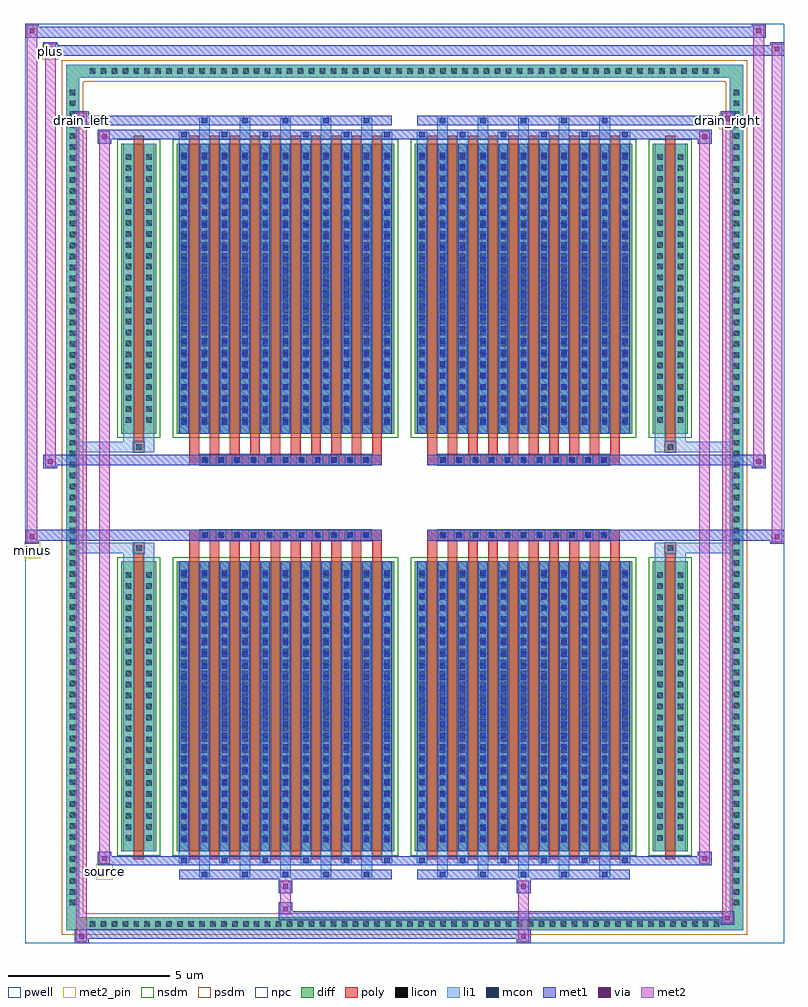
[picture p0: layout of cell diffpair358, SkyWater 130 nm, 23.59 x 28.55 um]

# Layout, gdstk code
import gdstk
lib = gdstk.Library(unit=1e-6, precision=5e-09)
def R(c, l, rs):  # rectangles x0, y0, x1, y1
    for r in rs: c.add(gdstk.rectangle(r[:2], r[2:], *l))
def A(c, l, x, y, w, h, nx, ny, dx, dy):  # array of equal rectangles
    R(c, l, [(x+i*dx, y+j*dy, x+i*dx+w, y+j*dy+h) for i in range(nx) for j in range(ny)])
def P(c, l, *ps):  # polygons
    for p in ps: c.add(gdstk.Polygon(p, *l))
pwell = (64, 44)
diff = (65, 20)
poly = (66, 20)
licon = (66, 44)
li1 = (67, 20)
mcon = (67, 44)
met1 = (68, 20)
via = (68, 44)
met2_pin = (69, 16)
met2 = (69, 20)
nsdm = (93, 44)
psdm = (94, 20)
npc = (95, 20)

diffpair358 = lib.new_cell('diffpair358')
R(diffpair358, pwell, [(-11.78,-13.84,11.78,14.71), (-9.1,-12.03,-0.01,-0.805), (0.01,-12.03,9.1,-0.805), (-9.1,0.805,-0.01,12.03), (0.01,0.805,9.1,12.03)])
A(diffpair358, diff, -9.895, -13.44, 0.41, 0.41, 58, 2, 0.34, 26.47)
A(diffpair358, diff, -10.51, -12.785, 0.41, 0.41, 1, 75, 0, 0.34)
A(diffpair358, diff, 10.1, -12.785, 0.41, 0.41, 1, 75, 0, 0.34)
R(diffpair358, diff, [(-9.895,-13.44,9.895,-13.03), (-10.51,-12.785,-10.1,12.785), (10.1,-12.785,10.51,12.785), (-8.79,-10.985,-7.71,-1.985), (-7.07,-10.985,-0.32,-1.985), (0.32,-10.985,7.07,-1.985), (7.71,-10.985,8.79,-1.985), (-8.79,1.985,-7.71,10.985), (-7.07,1.985,-0.32,10.985), (0.32,1.985,7.07,10.985), (7.71,1.985,8.79,10.985), (-9.895,13.03,9.895,13.44)])
P(diffpair358, diff, [(10.51,13.44),(-10.51,13.44),(-10.51,-13.03),(-10.1,-13.03),(-10.1,13.03),(10.1,13.03),(10.1,-13.03),(-10.1,-13.03),(-10.51,-13.03),(-10.51,-13.44),(10.51,-13.44)])
A(diffpair358, poly, -6.68, -11.235, 0.3, 9.5, 10, 2, 0.63, 12.97)
A(diffpair358, poly, 0.71, -11.235, 0.3, 9.5, 10, 2, 0.63, 12.97)
A(diffpair358, poly, -6.68, -1.735, 0.3, 0.4, 10, 2, 0.63, 3.07)
A(diffpair358, poly, 0.71, -1.735, 0.3, 0.4, 10, 2, 0.63, 3.07)
A(diffpair358, poly, -6.36, -1.335, 0.33, 0.33, 11, 2, 0.5, 2.34)
A(diffpair358, poly, 1.03, -1.335, 0.33, 0.33, 11, 2, 0.5, 2.34)
R(diffpair358, poly, [(-8.4,-11.235,-8.1,-1.735), (8.1,-11.235,8.4,-1.735), (-8.415,-1.735,-8.085,-1.405), (-8.415,-1.735,-8.085,-1.405), (8.085,-1.735,8.415,-1.405), (8.085,-1.735,8.415,-1.405), (-6.68,-1.335,-0.71,-1.005), (0.71,-1.335,6.68,-1.005), (-6.68,1.005,-0.71,1.335), (0.71,1.005,6.68,1.335), (-8.415,1.405,-8.085,1.735), (-8.415,1.405,-8.085,1.735), (8.085,1.405,8.415,1.735), (8.085,1.405,8.415,1.735), (-8.4,1.735,-8.1,11.235), (8.1,1.735,8.4,11.235)])
A(diffpair358, licon, -9.775, -13.32, 0.17, 0.17, 58, 2, 0.34, 26.47)
A(diffpair358, licon, -10.39, -12.665, 0.17, 0.17, 1, 75, 0, 0.34)
A(diffpair358, licon, 10.22, -12.665, 0.17, 0.17, 1, 75, 0, 0.34)
A(diffpair358, licon, -8.65, -10.65, 0.17, 0.17, 1, 25, 0, 0.34)
A(diffpair358, licon, -8.02, -10.65, 0.17, 0.17, 1, 25, 0, 0.34)
A(diffpair358, licon, -6.93, -10.65, 0.17, 0.17, 11, 25, 0.63, 0.34)
A(diffpair358, licon, 0.46, -10.65, 0.17, 0.17, 11, 25, 0.63, 0.34)
A(diffpair358, licon, 7.85, -10.65, 0.17, 0.17, 1, 25, 0, 0.34)
A(diffpair358, licon, 8.48, -10.65, 0.17, 0.17, 1, 25, 0, 0.34)
A(diffpair358, licon, -6.28, -1.255, 0.17, 0.17, 11, 2, 0.5, 2.34)
A(diffpair358, licon, 1.11, -1.255, 0.17, 0.17, 11, 2, 0.5, 2.34)
A(diffpair358, licon, -8.65, 2.32, 0.17, 0.17, 1, 25, 0, 0.34)
A(diffpair358, licon, -8.02, 2.32, 0.17, 0.17, 1, 25, 0, 0.34)
A(diffpair358, licon, -6.93, 2.32, 0.17, 0.17, 11, 25, 0.63, 0.34)
A(diffpair358, licon, 0.46, 2.32, 0.17, 0.17, 11, 25, 0.63, 0.34)
A(diffpair358, licon, 7.85, 2.32, 0.17, 0.17, 1, 25, 0, 0.34)
A(diffpair358, licon, 8.48, 2.32, 0.17, 0.17, 1, 25, 0, 0.34)
R(diffpair358, licon, [(-8.335,-1.655,-8.165,-1.485), (8.165,-1.655,8.335,-1.485), (-8.335,1.485,-8.165,1.655), (8.165,1.485,8.335,1.655)])
A(diffpair358, li1, -9.855, -13.4, 0.33, 0.33, 58, 2, 0.34, 26.47)
A(diffpair358, li1, -10.47, -12.745, 0.33, 0.33, 1, 75, 0, 0.34)
A(diffpair358, li1, 10.14, -12.745, 0.33, 0.33, 1, 75, 0, 0.34)
A(diffpair358, li1, -6.38, -11.79, 0.33, 0.805, 5, 2, 1.26, 22.775)
A(diffpair358, li1, -6.3, -11.79, 0.17, 0.17, 5, 2, 1.26, 23.41)
A(diffpair358, li1, 1.01, -11.79, 0.33, 0.805, 5, 2, 1.26, 22.775)
A(diffpair358, li1, 1.09, -11.79, 0.17, 0.17, 5, 2, 1.26, 23.41)
A(diffpair358, li1, -7.01, -11.36, 0.33, 0.375, 6, 2, 1.26, 22.345)
A(diffpair358, li1, -6.93, -11.36, 0.17, 0.17, 6, 2, 1.26, 22.55)
A(diffpair358, li1, 0.38, -11.36, 0.33, 0.375, 6, 2, 1.26, 22.345)
A(diffpair358, li1, 0.46, -11.36, 0.17, 0.17, 6, 2, 1.26, 22.55)
A(diffpair358, li1, -7.01, -10.985, 0.33, 9, 11, 2, 0.63, 12.97)
A(diffpair358, li1, 0.38, -10.985, 0.33, 9, 11, 2, 0.63, 12.97)
A(diffpair358, li1, -8.73, -10.73, 0.33, 0.33, 1, 25, 0, 0.34)
A(diffpair358, li1, -8.1, -10.73, 0.33, 0.33, 1, 25, 0, 0.34)
A(diffpair358, li1, -7.01, -10.73, 0.33, 0.33, 11, 25, 0.63, 0.34)
A(diffpair358, li1, 0.38, -10.73, 0.33, 0.33, 11, 25, 0.63, 0.34)
A(diffpair358, li1, 7.77, -10.73, 0.33, 0.33, 1, 25, 0, 0.34)
A(diffpair358, li1, 8.4, -10.73, 0.33, 0.33, 1, 25, 0, 0.34)
A(diffpair358, li1, -6.93, -10.71, 0.17, 0.17, 11, 24, 0.63, 0.36)
A(diffpair358, li1, -6.93, -10.71, 0.17, 8.45, 11, 2, 0.63, 12.97)
A(diffpair358, li1, 0.46, -10.71, 0.17, 0.17, 11, 24, 0.63, 0.36)
A(diffpair358, li1, 0.46, -10.71, 0.17, 8.45, 11, 2, 0.63, 12.97)
A(diffpair358, li1, -6.36, -1.335, 0.33, 0.33, 11, 2, 0.5, 2.34)
A(diffpair358, li1, 1.03, -1.335, 0.33, 0.33, 11, 2, 0.5, 2.34)
A(diffpair358, li1, -8.73, 2.24, 0.33, 0.33, 1, 25, 0, 0.34)
A(diffpair358, li1, -8.1, 2.24, 0.33, 0.33, 1, 25, 0, 0.34)
A(diffpair358, li1, -7.01, 2.24, 0.33, 0.33, 11, 25, 0.63, 0.34)
A(diffpair358, li1, 0.38, 2.24, 0.33, 0.33, 11, 25, 0.63, 0.34)
A(diffpair358, li1, 7.77, 2.24, 0.33, 0.33, 1, 25, 0, 0.34)
A(diffpair358, li1, 8.4, 2.24, 0.33, 0.33, 1, 25, 0, 0.34)
A(diffpair358, li1, -6.93, 2.26, 0.17, 0.17, 11, 24, 0.63, 0.36)
A(diffpair358, li1, 0.46, 2.26, 0.17, 0.17, 11, 24, 0.63, 0.36)
R(diffpair358, li1, [(-10.51,-13.44,-10.1,-13.03), (-10.51,-13.44,-10.1,-13.03), (-10.1,-13.44,10.1,-13.03), (10.1,-13.44,10.51,-13.03), (10.1,-13.44,10.51,-13.03), (-10.51,-13.03,-10.1,13.03), (10.1,-13.03,10.51,13.03), (-8.73,-10.985,-8.4,-1.985), (-8.1,-10.985,-7.77,-1.985), (7.77,-10.985,8.1,-1.985), (8.4,-10.985,8.73,-1.985), (-8.73,-1.985,-8.4,-1.405), (-8.1,-1.985,-7.77,-1.405), (7.77,-1.985,8.1,-1.405), (8.4,-1.985,8.73,-1.405), (-10.51,-1.735,-8.415,-1.405), (-8.73,-1.735,-8.415,-1.405), (-8.415,-1.735,-8.085,-1.405), (-8.085,-1.735,-7.77,-1.405), (7.77,-1.735,8.085,-1.405), (8.085,-1.735,8.415,-1.405), (8.085,-1.735,10.51,-1.405), (8.415,-1.735,8.73,-1.405), (-10.51,1.405,-8.415,1.735), (-8.73,1.405,-8.415,1.735), (-8.73,1.405,-8.4,1.985), (-8.415,1.405,-8.085,1.735), (-8.1,1.405,-7.77,1.985), (-8.085,1.405,-7.77,1.735), (7.77,1.405,8.085,1.735), (7.77,1.405,8.1,1.985), (8.085,1.405,8.415,1.735), (8.085,1.405,10.51,1.735), (8.4,1.405,8.73,1.985), (8.415,1.405,8.73,1.735), (-8.73,1.985,-8.4,10.985), (-8.1,1.985,-7.77,10.985), (7.77,1.985,8.1,10.985), (8.4,1.985,8.73,10.985), (-10.51,13.03,-10.1,13.44), (-10.51,13.03,-10.1,13.44), (-10.1,13.03,10.1,13.44), (10.1,13.03,10.51,13.44), (10.1,13.03,10.51,13.44)])
A(diffpair358, mcon, -6.3, -11.79, 0.17, 0.17, 5, 2, 1.26, 23.41)
A(diffpair358, mcon, 1.09, -11.79, 0.17, 0.17, 5, 2, 1.26, 23.41)
A(diffpair358, mcon, -6.93, -11.36, 0.17, 0.17, 6, 2, 1.26, 22.55)
A(diffpair358, mcon, 0.46, -11.36, 0.17, 0.17, 6, 2, 1.26, 22.55)
A(diffpair358, mcon, -6.93, -10.71, 0.17, 0.17, 11, 24, 0.63, 0.36)
A(diffpair358, mcon, 0.46, -10.71, 0.17, 0.17, 11, 24, 0.63, 0.36)
A(diffpair358, mcon, -6.28, -1.255, 0.17, 0.17, 11, 2, 0.5, 2.34)
A(diffpair358, mcon, 1.11, -1.255, 0.17, 0.17, 11, 2, 0.5, 2.34)
A(diffpair358, mcon, -6.93, 2.26, 0.17, 0.17, 11, 24, 0.63, 0.36)
A(diffpair358, mcon, 0.46, 2.26, 0.17, 0.17, 11, 24, 0.63, 0.36)
A(diffpair358, met1, -6.36, -11.85, 0.29, 0.29, 5, 2, 1.26, 23.41)
A(diffpair358, met1, 1.03, -11.85, 0.29, 0.29, 5, 2, 1.26, 23.41)
A(diffpair358, met1, -6.99, -11.42, 0.29, 0.29, 6, 2, 1.26, 22.55)
A(diffpair358, met1, 0.4, -11.42, 0.29, 0.29, 6, 2, 1.26, 22.55)
A(diffpair358, met1, -6.99, -10.985, 0.29, 9, 11, 2, 0.63, 12.97)
A(diffpair358, met1, 0.4, -10.985, 0.29, 9, 11, 2, 0.63, 12.97)
A(diffpair358, met1, -6.99, -10.77, 0.29, 0.29, 11, 24, 0.63, 0.36)
A(diffpair358, met1, 0.4, -10.77, 0.29, 0.29, 11, 24, 0.63, 0.36)
A(diffpair358, met1, -6.34, -1.315, 0.29, 0.29, 11, 2, 0.5, 2.34)
A(diffpair358, met1, 1.05, -1.315, 0.29, 0.29, 11, 2, 0.5, 2.34)
A(diffpair358, met1, -6.99, 2.2, 0.29, 0.29, 11, 24, 0.63, 0.36)
A(diffpair358, met1, 0.4, 2.2, 0.29, 0.29, 11, 24, 0.63, 0.36)
R(diffpair358, met1, [(-10.24,-13.84,-9.81,-13.41), (3.48,-13.84,3.91,-13.41), (-10.24,-13.7,3.91,-13.41), (9.81,-13.27,10.24,-12.84), (-3.91,-13.13,10.24,-12.84), (-3.91,-12.99,-3.48,-12.56), (-3.91,-12.28,-3.48,-11.85), (3.48,-12.28,3.91,-11.85), (-6.99,-11.85,-0.4,-11.56), (0.4,-11.85,6.99,-11.56), (-9.53,-11.42,-9.1,-10.99), (-9.53,-11.42,-6.99,-11.13), (-6.99,-11.42,-0.4,-11.13), (-0.4,-11.42,0.4,-11.13), (0.4,-11.42,6.99,-11.13), (6.99,-11.42,9.53,-11.13), (9.1,-11.42,9.53,-10.99), (-11.78,-1.435,-11.35,-1.005), (11.35,-1.435,11.78,-1.005), (-11.78,-1.335,-0.71,-1.005), (-6.68,-1.335,-0.71,-1.005), (0.71,-1.335,6.68,-1.005), (0.71,-1.335,11.78,-1.005), (-11.21,0.905,-10.78,1.335), (10.78,0.905,11.21,1.335), (-11.21,1.005,-6.68,1.335), (-6.68,1.005,-0.71,1.335), (0.71,1.005,6.68,1.335), (6.68,1.005,11.21,1.335), (-9.53,10.99,-9.1,11.42), (9.1,10.99,9.53,11.42), (-9.53,11.13,-6.99,11.42), (-6.99,11.13,-0.4,11.42), (-0.4,11.13,0.4,11.42), (0.4,11.13,6.99,11.42), (6.99,11.13,9.53,11.42), (-10.24,11.56,-9.81,11.99), (-10.24,11.56,-6.99,11.85), (-6.99,11.56,-0.4,11.85), (0.4,11.56,6.99,11.85), (6.99,11.56,10.24,11.85), (9.81,11.56,10.24,11.99), (-11.21,13.71,-10.78,14.14), (-11.21,13.71,-9.1,14.04), (-9.1,13.71,9.1,14.04), (9.1,13.71,11.78,14.04), (11.35,13.71,11.78,14.14), (-11.78,14.28,-11.35,14.71), (-11.78,14.28,-9.1,14.61), (-9.1,14.28,9.1,14.61), (9.1,14.28,11.21,14.61), (10.78,14.28,11.21,14.71)])
R(diffpair358, via, [(-10.1,-13.7,-9.95,-13.55), (3.62,-13.7,3.77,-13.55), (9.95,-13.13,10.1,-12.98), (-3.77,-12.85,-3.62,-12.7), (-3.77,-12.14,-3.62,-11.99), (3.62,-12.14,3.77,-11.99), (-9.39,-11.28,-9.24,-11.13), (9.24,-11.28,9.39,-11.13), (-11.64,-1.295,-11.49,-1.145), (11.49,-1.295,11.64,-1.145), (-11.07,1.045,-10.92,1.195), (10.92,1.045,11.07,1.195), (-9.39,11.13,-9.24,11.28), (9.24,11.13,9.39,11.28), (-10.1,11.7,-9.95,11.85), (9.95,11.7,10.1,11.85), (-11.07,13.85,-10.92,14), (11.49,13.85,11.64,14), (-11.64,14.42,-11.49,14.57), (10.92,14.42,11.07,14.57)])
R(diffpair358, met2_pin, [(-9.565,-11.87,-9.065,-11.37), (-11.815,-1.885,-11.315,-1.385), (-10.275,11.44,-9.775,11.94), (9.775,11.44,10.275,11.94), (-11.245,13.59,-10.745,14.09)])
R(diffpair358, met2, [(-10.19,-13.79,-9.86,-13.46), (-10.19,-13.79,-9.86,11.94), (3.53,-13.79,3.86,-13.46), (3.53,-13.46,3.86,-12.23), (9.86,-13.22,10.19,-12.89), (9.86,-13.22,10.19,11.94), (-3.86,-12.94,-3.53,-12.61), (-3.86,-12.61,-3.53,-12.23), (-3.86,-12.23,-3.53,-11.9), (3.53,-12.23,3.86,-11.9), (-9.48,-11.37,-9.15,-11.04), (-9.48,-11.37,-9.15,11.37), (9.15,-11.37,9.48,-11.04), (9.15,-11.37,9.48,11.37), (-11.73,-1.385,-11.4,-1.055), (-11.73,-1.385,-11.4,14.66), (11.4,-1.385,11.73,-1.055), (11.4,-1.385,11.73,14.09), (-11.16,0.955,-10.83,1.285), (-11.16,0.955,-10.83,14.09), (10.83,0.955,11.16,1.285), (10.83,0.955,11.16,14.66), (-9.48,11.04,-9.15,11.37), (9.15,11.04,9.48,11.37), (-10.19,11.61,-9.86,11.94), (9.86,11.61,10.19,11.94), (-11.16,13.76,-10.83,14.09), (11.4,13.76,11.73,14.09), (-11.73,14.33,-11.4,14.66), (10.83,14.33,11.16,14.66)])
P(diffpair358, met2, [(11.73,-1.385),(11.73,-1.385),(11.73,-1.055),(11.73,-1.055)],
  [(11.73,13.76),(11.73,13.76),(11.73,14.09),(11.73,14.09)],
  [(-11.4,-1.385),(-11.4,-1.385),(-11.4,-1.055),(-11.4,-1.055)],
  [(-11.4,14.33),(-11.4,14.33),(-11.4,14.66),(-11.4,14.66)],
  [(11.16,0.955),(11.16,0.955),(11.16,1.285),(11.16,1.285)],
  [(11.16,14.33),(11.16,14.33),(11.16,14.66),(11.16,14.66)],
  [(-10.83,0.955),(-10.83,0.955),(-10.83,1.285),(-10.83,1.285)],
  [(-10.83,13.76),(-10.83,13.76),(-10.83,14.09),(-10.83,14.09)],
  [(-9.86,-13.79),(-9.86,-13.79),(-9.86,-13.46),(-9.86,-13.46)],
  [(-9.86,11.61),(-9.86,11.61),(-9.86,11.94),(-9.86,11.94)],
  [(10.19,-13.22),(10.19,-13.22),(10.19,-12.89),(10.19,-12.89)],
  [(10.19,11.61),(10.19,11.61),(10.19,11.94),(10.19,11.94)],
  [(-9.15,-11.37),(-9.15,-11.37),(-9.15,-11.04),(-9.15,-11.04)],
  [(-9.15,11.04),(-9.15,11.04),(-9.15,11.37),(-9.15,11.37)],
  [(9.48,-11.37),(9.48,-11.37),(9.48,-11.04),(9.48,-11.04)],
  [(9.48,11.04),(9.48,11.04),(9.48,11.37),(9.48,11.37)])
R(diffpair358, nsdm, [(-8.92,-11.115,-7.58,-1.855), (-7.2,-11.115,-0.19,-1.855), (0.19,-11.115,7.2,-1.855), (7.58,-11.115,8.92,-1.855), (-8.92,1.855,-7.58,11.115), (-7.2,1.855,-0.19,11.115), (0.19,1.855,7.2,11.115), (7.58,1.855,8.92,11.115)])
P(diffpair358, psdm, [(10.64,13.57),(-10.64,13.57),(-10.64,-12.9),(-9.97,-12.9),(-9.97,12.9),(9.97,12.9),(9.97,-12.9),(-9.97,-12.9),(-10.64,-12.9),(-10.64,-13.57),(10.64,-13.57)])
A(diffpair358, npc, -6.38, -1.355, 0.37, 0.37, 11, 2, 0.5, 2.34)
A(diffpair358, npc, 1.01, -1.355, 0.37, 0.37, 11, 2, 0.5, 2.34)
R(diffpair358, npc, [(-8.435,-1.755,-8.065,-1.385), (8.065,-1.755,8.435,-1.385), (-6.38,-1.355,-5.51,-0.985), (-6.38,-1.355,-5.51,-0.985), (-5.88,-1.355,-5.01,-0.985), (-5.88,-1.355,-5.01,-0.985), (-5.38,-1.355,-4.51,-0.985), (-5.38,-1.355,-4.51,-0.985), (-4.88,-1.355,-4.01,-0.985), (-4.88,-1.355,-4.01,-0.985), (-4.38,-1.355,-3.51,-0.985), (-4.38,-1.355,-3.51,-0.985), (-3.88,-1.355,-3.01,-0.985), (-3.88,-1.355,-3.01,-0.985), (-3.38,-1.355,-2.51,-0.985), (-3.38,-1.355,-2.51,-0.985), (-2.88,-1.355,-2.01,-0.985), (-2.88,-1.355,-2.01,-0.985), (-2.38,-1.355,-1.51,-0.985), (-2.38,-1.355,-1.51,-0.985), (-1.88,-1.355,-1.01,-0.985), (-1.88,-1.355,-1.01,-0.985), (1.01,-1.355,1.88,-0.985), (1.01,-1.355,1.88,-0.985), (1.51,-1.355,2.38,-0.985), (1.51,-1.355,2.38,-0.985), (2.01,-1.355,2.88,-0.985), (2.01,-1.355,2.88,-0.985), (2.51,-1.355,3.38,-0.985), (2.51,-1.355,3.38,-0.985), (3.01,-1.355,3.88,-0.985), (3.01,-1.355,3.88,-0.985), (3.51,-1.355,4.38,-0.985), (3.51,-1.355,4.38,-0.985), (4.01,-1.355,4.88,-0.985), (4.01,-1.355,4.88,-0.985), (4.51,-1.355,5.38,-0.985), (4.51,-1.355,5.38,-0.985), (5.01,-1.355,5.88,-0.985), (5.01,-1.355,5.88,-0.985), (5.51,-1.355,6.38,-0.985), (5.51,-1.355,6.38,-0.985), (-6.38,0.985,-5.51,1.355), (-6.38,0.985,-5.51,1.355), (-5.88,0.985,-5.01,1.355), (-5.88,0.985,-5.01,1.355), (-5.38,0.985,-4.51,1.355), (-5.38,0.985,-4.51,1.355), (-4.88,0.985,-4.01,1.355), (-4.88,0.985,-4.01,1.355), (-4.38,0.985,-3.51,1.355), (-4.38,0.985,-3.51,1.355), (-3.88,0.985,-3.01,1.355), (-3.88,0.985,-3.01,1.355), (-3.38,0.985,-2.51,1.355), (-3.38,0.985,-2.51,1.355), (-2.88,0.985,-2.01,1.355), (-2.88,0.985,-2.01,1.355), (-2.38,0.985,-1.51,1.355), (-2.38,0.985,-1.51,1.355), (-1.88,0.985,-1.01,1.355), (-1.88,0.985,-1.01,1.355), (1.01,0.985,1.88,1.355), (1.01,0.985,1.88,1.355), (1.51,0.985,2.38,1.355), (1.51,0.985,2.38,1.355), (2.01,0.985,2.88,1.355), (2.01,0.985,2.88,1.355), (2.51,0.985,3.38,1.355), (2.51,0.985,3.38,1.355), (3.01,0.985,3.88,1.355), (3.01,0.985,3.88,1.355), (3.51,0.985,4.38,1.355), (3.51,0.985,4.38,1.355), (4.01,0.985,4.88,1.355), (4.01,0.985,4.88,1.355), (4.51,0.985,5.38,1.355), (4.51,0.985,5.38,1.355), (5.01,0.985,5.88,1.355), (5.01,0.985,5.88,1.355), (5.51,0.985,6.38,1.355), (5.51,0.985,6.38,1.355), (-8.435,1.385,-8.065,1.755), (8.065,1.385,8.435,1.755)])
diffpair358.add(gdstk.Label('minus', (-11.565,-1.635), layer=69, texttype=5))
diffpair358.add(gdstk.Label('drain_right', (10.025,11.69), layer=69, texttype=5))
diffpair358.add(gdstk.Label('drain_left', (-10.025,11.69), layer=69, texttype=5))
diffpair358.add(gdstk.Label('source', (-9.315,-11.62), layer=69, texttype=5))
diffpair358.add(gdstk.Label('plus', (-10.995,13.84), layer=69, texttype=5))

lib.write_gds('diffpair358.gds')
